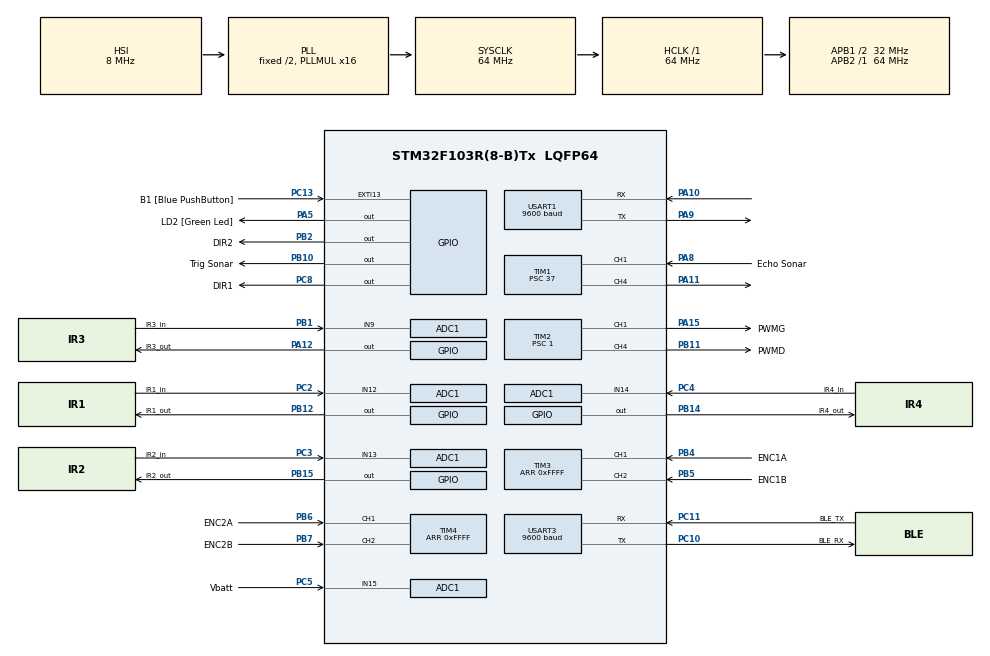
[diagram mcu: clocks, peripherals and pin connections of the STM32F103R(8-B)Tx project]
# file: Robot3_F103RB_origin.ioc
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ADC1.AWD1HighThreshold=4095
ADC1.AWD1ITMode=ENABLE
ADC1.AWD1LowThreshold=2455
ADC1.Channel-0\#ChannelRegularConversion=ADC_CHANNEL_9
ADC1.Channel-1\#ChannelRegularConversion=ADC_CHANNEL_12
ADC1.Channel-2\#ChannelRegularConversion=ADC_CHANNEL_13
ADC1.Channel-3\#ChannelRegularConversion=ADC_CHANNEL_14
ADC1.Channel-4\#ChannelRegularConversion=ADC_CHANNEL_15
ADC1.ContinuousConvMode=DISABLE
ADC1.DataAlign=ADC_DATAALIGN_RIGHT
ADC1.DiscontinuousConvMode=DISABLE
ADC1.EnableAnalogWatchDog=true
ADC1.EnableRegularConversion=ENABLE
ADC1.ExternalTrigConv=ADC_SOFTWARE_START
ADC1.InjNumberOfConversion=0
ADC1.NbrOfConversion=5
ADC1.NbrOfConversionFlag=1
ADC1.Rank-0\#ChannelRegularConversion=1
ADC1.Rank-1\#ChannelRegularConversion=2
ADC1.Rank-2\#ChannelRegularConversion=3
ADC1.Rank-3\#ChannelRegularConversion=4
ADC1.Rank-4\#ChannelRegularConversion=5
ADC1.SamplingTime-0\#ChannelRegularConversion=ADC_SAMPLETIME_239CYCLES_5
ADC1.SamplingTime-1\#ChannelRegularConversion=ADC_SAMPLETIME_239CYCLES_5
ADC1.SamplingTime-2\#ChannelRegularConversion=ADC_SAMPLETIME_239CYCLES_5
ADC1.SamplingTime-3\#ChannelRegularConversion=ADC_SAMPLETIME_239CYCLES_5
ADC1.SamplingTime-4\#ChannelRegularConversion=ADC_SAMPLETIME_239CYCLES_5
ADC1.ScanConvMode=ADC_SCAN_ENABLE
ADC1.WatchdogChannel=ADC_CHANNEL_15
ADC1.WatchdogMode=ADC_ANALOGWATCHDOG_SINGLE_REG
ADC1.master=1
Dma.ADC1.0.Direction=DMA_PERIPH_TO_MEMORY
Dma.ADC1.0.Instance=DMA1_Channel1
Dma.ADC1.0.MemDataAlignment=DMA_MDATAALIGN_HALFWORD
Dma.ADC1.0.MemInc=DMA_MINC_ENABLE
Dma.ADC1.0.Mode=DMA_CIRCULAR
Dma.ADC1.0.PeriphDataAlignment=DMA_PDATAALIGN_HALFWORD
Dma.ADC1.0.PeriphInc=DMA_PINC_DISABLE
Dma.ADC1.0.Priority=DMA_PRIORITY_LOW
Dma.Request0=ADC1
Mcu.Family=STM32F1
Mcu.Name=STM32F103R(8-B)Tx
Mcu.Package=LQFP64
NVIC.ADC1_2_IRQn=true\:0\:0\:false\:true\:true\:4\:true
NVIC.DMA1_Channel1_IRQn=true\:0\:0\:false\:false\:true\:true
NVIC.EXTI15_10_IRQn=true\:0\:0\:false\:true\:true\:1\:true
NVIC.PriorityGroup=NVIC_PRIORITYGROUP_4
NVIC.TIM1_CC_IRQn=true\:0\:0\:false\:false\:true\:true
NVIC.TIM2_IRQn=true\:0\:0\:false\:false\:true\:true
NVIC.USART1_IRQn=true\:0\:0\:false\:true\:true\:3\:true
NVIC.USART3_IRQn=true\:0\:0\:false\:true\:true\:2\:true
PA10.Mode=Asynchronous
PA10.Signal=USART1_RX
PA11.Signal=S_TIM1_CH4
PA12.GPIO_Label=IR3_out
PA12.Signal=GPIO_Output
PA13.GPIO_Label=TMS
PA13.Mode=Serial_Wire
PA13.Signal=SYS_JTMS-SWDIO
PA14.GPIO_Label=TCK
PA14.Mode=Serial_Wire
PA14.Signal=SYS_JTCK-SWCLK
PA15.GPIO_Label=PWMG
PA15.Signal=S_TIM2_CH1_ETR
PA2.GPIO_Label=USART_TX
PA2.GPIO_Mode=GPIO_MODE_AF_PP
PA2.GPIO_PuPd=GPIO_NOPULL
PA2.GPIO_Speed=GPIO_SPEED_FREQ_LOW
PA2.Signal=USART2_TX
PA3.GPIO_Label=USART_RX
PA3.GPIO_Mode=GPIO_MODE_AF_PP
PA3.GPIO_PuPd=GPIO_NOPULL
PA3.GPIO_Speed=GPIO_SPEED_FREQ_LOW
PA3.Signal=USART2_RX
PA5.GPIO_Label=LD2 [Green Led]
PA5.GPIO_ModeDefaultOutputPP=GPIO_MODE_OUTPUT_PP
PA5.GPIO_PuPd=GPIO_NOPULL
PA5.GPIO_Speed=GPIO_SPEED_FREQ_LOW
PA5.Signal=GPIO_Output
PA8.GPIO_Label=Echo Sonar
PA8.Signal=S_TIM1_CH1
PA9.Mode=Asynchronous
PA9.Signal=USART1_TX
PB1.GPIO_Label=IR3_in
PB1.Signal=ADCx_IN9
PB10.GPIO_Label=Trig Sonar
PB10.Signal=GPIO_Output
PB11.GPIO_Label=PWMD
PB11.Signal=S_TIM2_CH4
PB12.GPIO_Label=IR1_out
PB12.Signal=GPIO_Output
PB14.GPIO_Label=IR4_out
PB14.Signal=GPIO_Output
PB15.GPIO_Label=IR2_out
PB15.Signal=GPIO_Output
PB2.GPIO_Label=DIR2
PB2.Signal=GPIO_Output
PB3.GPIO_Label=SWO
PB3.Signal=SYS_JTDO-TRACESWO
PB4.GPIO_Label=ENC1A
PB4.Signal=S_TIM3_CH1
PB5.GPIO_Label=ENC1B
PB5.Signal=S_TIM3_CH2
PB6.GPIO_Label=ENC2A
PB6.Signal=S_TIM4_CH1
PB7.GPIO_Label=ENC2B
PB7.Signal=S_TIM4_CH2
PC10.GPIO_Label=BLE_RX
PC10.Mode=Asynchronous
PC10.Signal=USART3_TX
PC11.GPIO_Label=BLE_TX
PC11.Mode=Asynchronous
PC11.Signal=USART3_RX
PC13-TAMPER-RTC.GPIO_Label=B1 [Blue PushButton]
PC13-TAMPER-RTC.GPIO_ModeDefaultEXTI=GPIO_MODE_IT_FALLING
PC13-TAMPER-RTC.GPIO_PuPd=GPIO_NOPULL
PC13-TAMPER-RTC.Signal=GPXTI13
PC14-OSC32_IN.Signal=RCC_OSC32_IN
PC15-OSC32_OUT.Signal=RCC_OSC32_OUT
PC2.GPIO_Label=IR1_in
PC2.Signal=ADCx_IN12
PC3.GPIO_Label=IR2_in
PC3.Signal=ADCx_IN13
PC4.GPIO_Label=IR4_in
PC4.Signal=ADCx_IN14
PC5.GPIO_Label=Vbatt
PC5.Signal=ADCx_IN15
PC8.GPIO_Label=DIR1
PC8.Signal=GPIO_Output
PD0-OSC_IN.Signal=RCC_OSC_IN
PD1-OSC_OUT.Signal=RCC_OSC_OUT
ProjectManager.HeapSize=0x200
ProjectManager.StackSize=0x400
ProjectManager.TargetToolchain=TrueSTUDIO
RCC.ADCPresc=RCC_ADCPCLK2_DIV8
RCC.AHBFreq_Value=64000000
RCC.APB1CLKDivider=RCC_HCLK_DIV2
RCC.APB1Freq_Value=32000000
RCC.APB1TimFreq_Value=64000000
RCC.APB2Freq_Value=64000000
RCC.APB2TimFreq_Value=64000000
RCC.HCLKFreq_Value=64000000
RCC.PLLMUL=RCC_PLL_MUL16
RCC.SYSCLKFreq_VALUE=64000000
RCC.SYSCLKSource=RCC_SYSCLKSOURCE_PLLCLK
RCC.USBFreq_Value=64000000
SH.ADCx_IN12.0=ADC1_IN12,IN12
SH.ADCx_IN13.0=ADC1_IN13,IN13
SH.ADCx_IN14.0=ADC1_IN14,IN14
SH.ADCx_IN15.0=ADC1_IN15,IN15
SH.ADCx_IN9.0=ADC1_IN9,IN9
SH.S_TIM1_CH1.0=TIM1_CH1,PWM_Input_1
SH.S_TIM1_CH4.0=TIM1_CH4,PWM Generation4 CH4
SH.S_TIM2_CH1_ETR.0=TIM2_CH1,PWM Generation1 CH1
SH.S_TIM2_CH4.0=TIM2_CH4,PWM Generation4 CH4
SH.S_TIM3_CH1.0=TIM3_CH1,Encoder_Interface
SH.S_TIM3_CH2.0=TIM3_CH2,Encoder_Interface
SH.S_TIM4_CH1.0=TIM4_CH1,Encoder_Interface
SH.S_TIM4_CH2.0=TIM4_CH2,Encoder_Interface
TIM1.AutoReloadPreload=TIM_AUTORELOAD_PRELOAD_ENABLE
TIM1.Channel-PWM\ Generation4\ CH4=TIM_CHANNEL_4
TIM1.ICFilter_1=5
TIM1.ICFilter_2=5
TIM1.Period=0xFFFF
TIM1.Prescaler=37
TIM2.AutoReloadPreload=TIM_AUTORELOAD_PRELOAD_DISABLE
TIM2.Channel-PWM\ Generation1\ CH1=TIM_CHANNEL_1
TIM2.Channel-PWM\ Generation4\ CH4=TIM_CHANNEL_4
TIM2.Period=64000
TIM2.Prescaler=1
TIM3.AutoReloadPreload=TIM_AUTORELOAD_PRELOAD_ENABLE
TIM3.EncoderMode=TIM_ENCODERMODE_TI12
TIM3.IC1Filter=8
TIM3.IC1Polarity=TIM_ICPOLARITY_RISING
TIM3.IC2Filter=8
TIM3.IC2Polarity=TIM_ICPOLARITY_RISING
TIM3.Period=0xFFFF
TIM4.AutoReloadPreload=TIM_AUTORELOAD_PRELOAD_ENABLE
TIM4.EncoderMode=TIM_ENCODERMODE_TI12
TIM4.IC1Filter=8
TIM4.IC1Polarity=TIM_ICPOLARITY_RISING
TIM4.IC2Filter=8
TIM4.IC2Polarity=TIM_ICPOLARITY_RISING
TIM4.Period=0xFFFF
USART1.BaudRate=9600
USART1.VirtualMode=VM_ASYNC
USART3.BaudRate=9600
USART3.VirtualMode=VM_ASYNC
VP_TIM1_VS_ClockSourceINT.Mode=Internal
VP_TIM2_VS_ClockSourceINT.Mode=Internal
board=NUCLEO-F103RB

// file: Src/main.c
/**
 ******************************************************************************
 * @file           : main.c
 * @brief          : Main program body
 ******************************************************************************
 ** This notice applies to any and all portions of this file
 * that are not between comment pairs USER CODE BEGIN and
 * USER CODE END. Other portions of this file, whether
 * inserted by the user or by software development tools
 * are owned by their respective copyright owners.
 *
 * COPYRIGHT(c) 2020 STMicroelectronics
 *
 * Redistribution and use in source and binary forms, with or without modification,
 * are permitted provided that the following conditions are met:
 *   1. Redistributions of source code must retain the above copyright notice,
 *      this list of conditions and the following disclaimer.
 *   2. Redistributions in binary form must reproduce the above copyright notice,
 *      this list of conditions and the following disclaimer in the documentation
 *      and/or other materials provided with the distribution.
 *   3. Neither the name of STMicroelectronics nor the names of its contributors
 *      may be used to endorse or promote products derived from this software
 *      without specific prior written permission.
 *
 * THIS SOFTWARE IS PROVIDED BY THE COPYRIGHT HOLDERS AND CONTRIBUTORS "AS IS"
 * AND ANY EXPRESS OR IMPLIED WARRANTIES, INCLUDING, BUT NOT LIMITED TO, THE
 * IMPLIED WARRANTIES OF MERCHANTABILITY AND FITNESS FOR A PARTICULAR PURPOSE ARE
 * DISCLAIMED. IN NO EVENT SHALL THE COPYRIGHT HOLDER OR CONTRIBUTORS BE LIABLE
 * FOR ANY DIRECT, INDIRECT, INCIDENTAL, SPECIAL, EXEMPLARY, OR CONSEQUENTIAL
 * DAMAGES (INCLUDING, BUT NOT LIMITED TO, PROCUREMENT OF SUBSTITUTE GOODS OR
 * SERVICES; LOSS OF USE, DATA, OR PROFITS; OR BUSINESS INTERRUPTION) HOWEVER
 * CAUSED AND ON ANY THEORY OF LIABILITY, WHETHER IN CONTRACT, STRICT LIABILITY,
 * OR TORT (INCLUDING NEGLIGENCE OR OTHERWISE) ARISING IN ANY WAY OUT OF THE USE
 * OF THIS SOFTWARE, EVEN IF ADVISED OF THE POSSIBILITY OF SUCH DAMAGE.
 *
 ******************************************************************************
 */
#include "main.h"
#include "stm32f1xx_hal.h"
#include "adc.h"
#include "dma.h"
#include "tim.h"
#include "usart.h"
#include "gpio.h"

/* USER CODE BEGIN Includes */
#include <stdlib.h>
#include <stdio.h>
#include <string.h>
/* USER CODE END Includes */

/* USER CODE BEGIN PV */
/* Private variables ---------------------------------------------------------*/
#define AVANCE 	GPIO_PIN_SET
#define RECULE  GPIO_PIN_RESET
#define POURCENT 640
#define Seuil_Dist_4 1600 // 1600 corespond à 10 cm.
#define Seuil_Dist_3 1600
#define Seuil_Dist_1 1600
#define Seuil_Dist_2 1600
#define V1 38
#define V2 56
#define V3 76
#define Vmax 95
#define T_2_S 1000 //( pwm période = 2 ms )
#define T_200_MS 100
#define T_2000_MS 1000
#define CKp_D 100  //80 Robot1
#define CKp_G 100  //80 Robot1
#define CKi_D 80  //50 Robot1
#define CKi_G 80  //50 Robot1
#define CKd_D 0
#define CKd_G 0
#define DELTA 0x50
#define DECALAGE 10000
#define TOLERANCE 300
const char address_o = 77;

struct Position {
	long x, y, z;
};
volatile struct Position position_ref_o = { .x = -1, .y = -1, .z = -1 };
volatile struct Position position_ref_i = { .x = -1, .y = -1, .z = -1 };
enum CMDE {
	START, STOP, AVANT, ARRIERE, DROITE, GAUCHE, PARK, MOV_PARK, ATTENTE_PARK
};
volatile enum CMDE CMDE;
enum MODE {
	SLEEP, ACTIF_MODE
};
volatile enum MODE Mode;
enum MOV_PARK_ETAT {
	AVANCER_50cm, TOURNER_CCW, MOV_Z, TOURNER_CW, ALIGNER
};
enum GST_CMDE_ETAT {
	VEILLE,
	ARRET,
	AV1,
	AV2,
	AV3,
	RV1,
	RV2,
	RV3,
	DV1,
	DV2,
	DV3,
	GV1,
	GV2,
	GV3,
	PARK_STATE,
	MOV_PARK_STATE,
	ATTENTE_PARK_STATE
};
volatile enum GST_CMDE_ETAT gstCmdeEtat = VEILLE;
enum DIRECTION {
	POS_X, POS_Y, POS_Z
};
volatile enum DIRECTION direction;
volatile unsigned char New_CMDE = 0;
volatile char address_i;
volatile uint16_t Dist_ACS_1, Dist_ACS_2, Dist_ACS_3, Dist_ACS_4;
volatile unsigned int Time = 0;
volatile unsigned int Tech = 0;
uint16_t adc_buffer[10];
uint16_t Buff_Dist[8];
uint8_t BLUE_RX;
uint8_t XBEE_RX;
char XBEE_TX[20] = { 0 };
char MESSAGE_XBEE[20] = { 0 };

uint16_t _DirG, _DirD, CVitG, CVitD, DirD, DirG;
uint16_t _CVitD = 0;
uint16_t _CVitG = 0;
uint16_t VitD, VitG, DistD, DistG;
uint16_t DistD_old = 0;
uint16_t DistG_old = 0;
int Cmde_VitD = 0;
int Cmde_VitG = 0;
unsigned long Dist_parcours = 0;
volatile uint32_t Dist_Obst;
uint32_t Dist_Obst_;
uint32_t Dist_Obst_cm;
uint32_t Dist;
long Dist_mur;
uint8_t UNE_FOIS = 1;
uint32_t OV = 0;
/* USER CODE END PV */

void SystemClock_Config(void);
static void MX_NVIC_Init(void);

/* USER CODE BEGIN PFP */
/* Private function prototypes -----------------------------------------------*/
void Gestion_Commandes(void);
void regulateur(void);
void controle(void);
void Calcul_Vit(void);
void ACS(void);
void Direction_Sonar(enum DIRECTION direction);
void movPark(void);
void Park(void);
void printToXBEE(char out[]);
/* USER CODE END PFP */

int main(void) {

	/* MCU Configuration----------------------------------------------------------*/

	/* Reset of all peripherals, Initializes the Flash interface and the Systick. */
	HAL_Init();

	/* USER CODE BEGIN Init */
	Dist_Obst = 0;
	/* USER CODE END Init */

	/* Configure the system clock */
	SystemClock_Config();

	/* Initialize all configured peripherals */
	MX_GPIO_Init();
	MX_DMA_Init();
	MX_ADC1_Init();
	MX_TIM2_Init();
	MX_TIM3_Init();
	MX_TIM4_Init();
	MX_USART3_UART_Init();
	MX_TIM1_Init();
	MX_USART1_UART_Init();

	/* Initialize interrupts */
	MX_NVIC_Init();
	/* USER CODE BEGIN 2 */
	HAL_SuspendTick(); // suppresion des Tick interrupt pour le mode sleep.

	HAL_TIM_PWM_Start(&htim2, TIM_CHANNEL_4);  // Start PWM motor
	HAL_TIM_PWM_Start(&htim2, TIM_CHANNEL_1);
	HAL_TIM_PWM_Start(&htim1, TIM_CHANNEL_4);	//Start Servo
	CMDE = STOP;
	New_CMDE = 1;
	HAL_TIM_Base_Start_IT(&htim2);  // Start IT sur font montant PWM
	HAL_TIM_Encoder_Start(&htim3, TIM_CHANNEL_ALL);
	HAL_TIM_Encoder_Start(&htim4, TIM_CHANNEL_ALL);
	HAL_UART_Receive_IT(&huart3, &BLUE_RX, 1);
	HAL_UART_Receive_IT(&huart1, &XBEE_RX, 1);
	HAL_ADC_Start_IT(&hadc1);
	HAL_TIM_IC_Start_IT(&htim1, TIM_CHANNEL_2);
	HAL_GPIO_WritePin(GPIOB, GPIO_PIN_10, GPIO_PIN_SET);
	Direction_Sonar(POS_X);
	/* USER CODE END 2 */

	/* Infinite loop */
	/* USER CODE BEGIN WHILE */
	while (1) {
		Gestion_Commandes();
		controle();
		/* USER CODE END WHILE */

	}

}

void SystemClock_Config(void) {

	RCC_OscInitTypeDef RCC_OscInitStruct;
	RCC_ClkInitTypeDef RCC_ClkInitStruct;
	RCC_PeriphCLKInitTypeDef PeriphClkInit;

	/**Initializes the CPU, AHB and APB busses clocks
	 */
	RCC_OscInitStruct.OscillatorType = RCC_OSCILLATORTYPE_HSI;
	RCC_OscInitStruct.HSIState = RCC_HSI_ON;
	RCC_OscInitStruct.HSICalibrationValue = 16;
	RCC_OscInitStruct.PLL.PLLState = RCC_PLL_ON;
	RCC_OscInitStruct.PLL.PLLSource = RCC_PLLSOURCE_HSI_DIV2;
	RCC_OscInitStruct.PLL.PLLMUL = RCC_PLL_MUL16;
	if (HAL_RCC_OscConfig(&RCC_OscInitStruct) != HAL_OK) {
		_Error_Handler(__FILE__, __LINE__);
	}

	/**Initializes the CPU, AHB and APB busses clocks
	 */
	RCC_ClkInitStruct.ClockType = RCC_CLOCKTYPE_HCLK | RCC_CLOCKTYPE_SYSCLK
			| RCC_CLOCKTYPE_PCLK1 | RCC_CLOCKTYPE_PCLK2;
	RCC_ClkInitStruct.SYSCLKSource = RCC_SYSCLKSOURCE_PLLCLK;
	RCC_ClkInitStruct.AHBCLKDivider = RCC_SYSCLK_DIV1;
	RCC_ClkInitStruct.APB1CLKDivider = RCC_HCLK_DIV2;
	RCC_ClkInitStruct.APB2CLKDivider = RCC_HCLK_DIV1;

	if (HAL_RCC_ClockConfig(&RCC_ClkInitStruct, FLASH_LATENCY_2) != HAL_OK) {
		_Error_Handler(__FILE__, __LINE__);
	}

	PeriphClkInit.PeriphClockSelection = RCC_PERIPHCLK_ADC;
	PeriphClkInit.AdcClockSelection = RCC_ADCPCLK2_DIV8;
	if (HAL_RCCEx_PeriphCLKConfig(&PeriphClkInit) != HAL_OK) {
		_Error_Handler(__FILE__, __LINE__);
	}

	/**Configure the Systick interrupt time
	 */
	HAL_SYSTICK_Config(HAL_RCC_GetHCLKFreq() / 1000);

	/**Configure the Systick
	 */
	HAL_SYSTICK_CLKSourceConfig(SYSTICK_CLKSOURCE_HCLK);

	/* SysTick_IRQn interrupt configuration */
	HAL_NVIC_SetPriority(SysTick_IRQn, 0, 0);
}

/**
 * @brief NVIC Configuration.
 * @retval None
 */
static void MX_NVIC_Init(void) {
	/* EXTI15_10_IRQn interrupt configuration */
	HAL_NVIC_SetPriority(EXTI15_10_IRQn, 0, 0);
	HAL_NVIC_EnableIRQ(EXTI15_10_IRQn);
	/* USART3_IRQn interrupt configuration */
	HAL_NVIC_SetPriority(USART3_IRQn, 0, 0);
	HAL_NVIC_EnableIRQ(USART3_IRQn);
	/* USART1_IRQn interrupt configuration */
	HAL_NVIC_SetPriority(USART1_IRQn, 0, 0);
	HAL_NVIC_EnableIRQ(USART1_IRQn);
	/* ADC1_2_IRQn interrupt configuration */
	HAL_NVIC_SetPriority(ADC1_2_IRQn, 0, 0);
	HAL_NVIC_EnableIRQ(ADC1_2_IRQn);
}

/* USER CODE BEGIN 4 */
void Direction_Sonar(enum DIRECTION direction) {
	// D0
//	switch (direction) {
//	case POS_X:
//		__HAL_TIM_SET_COMPARE(&htim1, TIM_CHANNEL_4, 2200);
//		break;
//	case POS_Y:
//		__HAL_TIM_SET_COMPARE(&htim1, TIM_CHANNEL_4, 795);
//		break;
//	case POS_Z:
//		__HAL_TIM_SET_COMPARE(&htim1, TIM_CHANNEL_4, 4100);
//		break;
//	}
	switch (direction) {
	case POS_X:
		__HAL_TIM_SET_COMPARE(&htim1, TIM_CHANNEL_4, 2350);
		break;
	case POS_Y:
		__HAL_TIM_SET_COMPARE(&htim1, TIM_CHANNEL_4, 795);
		break;
	case POS_Z:
		__HAL_TIM_SET_COMPARE(&htim1, TIM_CHANNEL_4, 4100);
		break;
	}
}

void Gestion_Commandes(void) {
	if (New_CMDE) {
		New_CMDE = 0;
		switch (CMDE) {
		case STOP: {
			_CVitD = _CVitG = 0;
			// Mise en sommeil: STOP mode , réveil via IT BP1
			gstCmdeEtat = VEILLE;
			Mode = SLEEP;

			break;
		}
		case START: {
			// réveil sytème grace à l'IT BP1
			gstCmdeEtat = ARRET;
			Mode = SLEEP;

			break;
		}
		case AVANT: {
			switch (gstCmdeEtat) {
			case VEILLE: {
				gstCmdeEtat = VEILLE;
				Mode = SLEEP;
				break;
			}
			case ARRET: {
				_DirG = AVANCE;
				_DirD = AVANCE;
				_CVitG = V1;
				_CVitD = V1;
				gstCmdeEtat = AV1;
				Mode = ACTIF_MODE;
				break;
			}
			case AV1: {
				_DirG = AVANCE;
				_DirD = AVANCE;
				_CVitG = V2;
				_CVitD = V2;
				gstCmdeEtat = AV2;
				Mode = ACTIF_MODE;
				break;
			}
			case AV2: {
				_DirG = AVANCE;
				_DirD = AVANCE;
				_CVitG = V3;
				_CVitD = V3;
				gstCmdeEtat = AV3;
				Mode = ACTIF_MODE;
				break;
			}
			case AV3: {
				_DirG = AVANCE;
				_DirD = AVANCE;
				_CVitG = V3;
				_CVitD = V3;
				gstCmdeEtat = AV3;
				Mode = ACTIF_MODE;
				break;
			}
			case RV1: {
				_DirG = RECULE;
				_DirD = RECULE;
				_CVitG = 0;
				_CVitD = 0;
				gstCmdeEtat = ARRET;
				Mode = SLEEP;

				break;
			}
			case RV2: {
				_DirG = RECULE;
				_DirD = RECULE;
				_CVitG = V1;
				_CVitD = V1;
				gstCmdeEtat = RV1;
				Mode = ACTIF_MODE;
				break;
			}
			case RV3: {
				_DirG = RECULE;
				_DirD = RECULE;
				_CVitG = V2;
				_CVitD = V2;
				gstCmdeEtat = RV2;
				Mode = ACTIF_MODE;
				break;
			}
			case DV1: {
				_DirG = AVANCE;
				_DirD = AVANCE;
				_CVitG = V1;
				_CVitD = V1;
				gstCmdeEtat = AV1;
				Mode = ACTIF_MODE;
				break;
			}
			case DV2: {
				_DirG = AVANCE;
				_DirD = AVANCE;
				_CVitG = V2;
				_CVitD = V2;
				gstCmdeEtat = AV2;
				Mode = ACTIF_MODE;
				break;
			}
			case DV3: {
				_DirG = AVANCE;
				_DirD = AVANCE;
				_CVitG = V3;
				_CVitD = V3;
				gstCmdeEtat = AV3;
				Mode = ACTIF_MODE;
				break;
			}
			case GV1: {
				_DirG = AVANCE;
				_DirD = AVANCE;
				_CVitG = V1;
				_CVitD = V1;
				gstCmdeEtat = AV2;
				Mode = ACTIF_MODE;
				break;
			}
			case GV2: {
				_DirG = AVANCE;
				_DirD = AVANCE;
				_CVitG = V2;
				_CVitD = V2;
				gstCmdeEtat = AV2;
				Mode = ACTIF_MODE;
				break;
			}
			case GV3: {
				_DirG = AVANCE;
				_DirD = AVANCE;
				_CVitG = V3;
				_CVitD = V3;
				gstCmdeEtat = AV3;
				Mode = ACTIF_MODE;
				break;
			}
			default:
				break;
			}
			break;
		}
		case ARRIERE: {
			switch (gstCmdeEtat) {
			case VEILLE: {
				gstCmdeEtat = VEILLE;
				Mode = SLEEP;
				break;
			}
			case ARRET: {
				_DirG = RECULE;
				_DirD = RECULE;
				_CVitG = V1;
				_CVitD = V1;
				gstCmdeEtat = RV1;
				Mode = ACTIF_MODE;
				break;
			}
			case AV1: {
				_DirG = AVANCE;
				_DirD = AVANCE;
				_CVitG = 0;
				_CVitD = 0;
				gstCmdeEtat = ARRET;
				Mode = SLEEP;

				break;
			}
			case AV2: {
				_DirG = AVANCE;
				_DirD = AVANCE;
				_CVitG = V1;
				_CVitD = V1;
				gstCmdeEtat = AV1;
				Mode = ACTIF_MODE;
				break;
			}
			case AV3: {
				_DirG = AVANCE;
				_DirD = AVANCE;
				_CVitG = V2;
				_CVitD = V2;
				gstCmdeEtat = AV2;
				Mode = ACTIF_MODE;
				break;
			}
			case RV1: {
				_DirG = RECULE;
				_DirD = RECULE;
				_CVitG = V2;
				_CVitD = V2;
				gstCmdeEtat = RV2;
				Mode = ACTIF_MODE;
				break;
			}
			case RV2: {
				_DirG = RECULE;
				_DirD = RECULE;
				_CVitG = V3;
				_CVitD = V3;
				gstCmdeEtat = RV3;
				Mode = ACTIF_MODE;
				break;
			}
			case RV3: {
				_DirG = RECULE;
				_DirD = RECULE;
				_CVitG = V3;
				_CVitD = V3;
				gstCmdeEtat = RV3;
				Mode = ACTIF_MODE;
				break;
			}
			case DV1: {
				_DirG = RECULE;
				_DirD = RECULE;
				_CVitG = V1;
				_CVitD = V1;
				gstCmdeEtat = RV1;
				Mode = ACTIF_MODE;
				break;
			}
			case DV2: {
				_DirG = RECULE;
				_DirD = RECULE;
				_CVitG = V2;
				_CVitD = V2;
				gstCmdeEtat = RV2;
				Mode = ACTIF_MODE;
				break;
			}
			case DV3: {
				_DirG = RECULE;
				_DirD = RECULE;
				_CVitG = V3;
				_CVitD = V3;
				gstCmdeEtat = RV3;
				Mode = ACTIF_MODE;
				break;
			}
			case GV1: {
				_DirG = RECULE;
				_DirD = RECULE;
				_CVitG = V1;
				_CVitD = V1;
				gstCmdeEtat = RV1;
				Mode = ACTIF_MODE;
				break;
			}
			case GV2: {
				_DirG = RECULE;
				_DirD = RECULE;
				_CVitG = V2;
				_CVitD = V2;
				gstCmdeEtat = RV2;
				Mode = ACTIF_MODE;
				break;
			}
			case GV3: {
				_DirG = RECULE;
				_DirD = RECULE;
				_CVitG = V3;
				_CVitD = V3;
				gstCmdeEtat = RV3;
				Mode = ACTIF_MODE;
				break;
			}
			default:
				break;
			}
			break;
		}
		case DROITE: {
			switch (gstCmdeEtat) {
			case VEILLE: {
				gstCmdeEtat = VEILLE;
				Mode = SLEEP;
				break;
			}
			case ARRET: {
				_DirG = AVANCE;
				_DirD = RECULE;
				_CVitG = V1;
				_CVitD = V1;
				gstCmdeEtat = DV1;
				Mode = ACTIF_MODE;
				break;
			}
			case AV1: {
				_DirG = AVANCE;
				_DirD = RECULE;
				_CVitG = V1;
				_CVitD = V1;
				gstCmdeEtat = DV1;
				Mode = ACTIF_MODE;
				break;
			}
			case AV2: {
				_DirG = AVANCE;
				_DirD = RECULE;
				_CVitG = V2;
				_CVitD = V2;
				gstCmdeEtat = DV2;
				Mode = ACTIF_MODE;
				break;
			}
			case AV3: {
				_DirG = AVANCE;
				_DirD = RECULE;
				_CVitG = V3;
				_CVitD = V3;
				gstCmdeEtat = DV3;
				Mode = ACTIF_MODE;
				break;
			}
			case RV1: {
				_DirG = AVANCE;
				_DirD = RECULE;
				_CVitG = V1;
				_CVitD = V1;
				gstCmdeEtat = DV1;
				Mode = ACTIF_MODE;
				break;
			}
			case RV2: {
				_DirG = AVANCE;
				_DirD = RECULE;
				_CVitG = V2;
				_CVitD = V2;
				gstCmdeEtat = DV2;
				Mode = ACTIF_MODE;
				break;
			}
			case RV3: {
				_DirG = AVANCE;
				_DirD = RECULE;
				_CVitG = V3;
				_CVitD = V3;
				gstCmdeEtat = DV3;
				Mode = ACTIF_MODE;
				break;
			}
			case DV1: {
				_DirG = AVANCE;
				_DirD = RECULE;
				_CVitG = V2;
				_CVitD = V2;
				gstCmdeEtat = DV2;
				Mode = ACTIF_MODE;
				break;
			}
			case DV2: {
				_DirG = AVANCE;
				_DirD = RECULE;
				_CVitG = V3;
				_CVitD = V3;
				gstCmdeEtat = DV3;
				Mode = ACTIF_MODE;
				break;
			}
			case DV3: {
				_DirG = AVANCE;
				_DirD = RECULE;
				_CVitG = V3;
				_CVitD = V3;
				gstCmdeEtat = DV3;
				Mode = ACTIF_MODE;
				break;
			}
			case GV1: {
				_DirG = RECULE;
				_DirD = RECULE;
				_CVitG = 0;
				_CVitD = 0;
				gstCmdeEtat = ARRET;
				Mode = SLEEP;

				break;
			}
			case GV2: {
				_DirG = RECULE;
				_DirD = AVANCE;
				_CVitG = V1;
				_CVitD = V1;
				gstCmdeEtat = GV1;
				Mode = ACTIF_MODE;
				break;
			}
			case GV3: {
				_DirG = RECULE;
				_DirD = AVANCE;
				_CVitG = V2;
				_CVitD = V2;
				gstCmdeEtat = GV2;
				Mode = ACTIF_MODE;
				break;
			}
			default:
				break;
			}
			break;
		}
		case GAUCHE: {
			switch (gstCmdeEtat) {
			case VEILLE: {
				gstCmdeEtat = VEILLE;
				Mode = SLEEP;
				break;
			}
			case ARRET: {
				_DirG = RECULE;
				_DirD = AVANCE;
				_CVitG = V1;
				_CVitD = V1;
				gstCmdeEtat = GV1;
				Mode = ACTIF_MODE;
				break;
			}
			case AV1: {
				_DirG = RECULE;
				_DirD = AVANCE;
				_CVitG = V1;
				_CVitD = V1;
				gstCmdeEtat = GV1;
				Mode = ACTIF_MODE;
				break;
			}
			case AV2: {
				_DirG = RECULE;
				_DirD = AVANCE;
				_CVitG = V2;
				_CVitD = V2;
				gstCmdeEtat = GV2;
				Mode = ACTIF_MODE;
				break;
			}
			case AV3: {
				_DirG = RECULE;
				_DirD = AVANCE;
				_CVitG = V3;
				_CVitD = V3;
				gstCmdeEtat = GV3;
				Mode = ACTIF_MODE;
				break;
			}
			case RV1: {
				_DirG = RECULE;
				_DirD = AVANCE;
				_CVitG = V1;
				_CVitD = V1;
				gstCmdeEtat = GV1;
				Mode = ACTIF_MODE;
				break;
			}
			case RV2: {
				_DirG = RECULE;
				_DirD = AVANCE;
				_CVitG = V2;
				_CVitD = V2;
				gstCmdeEtat = GV2;
				Mode = ACTIF_MODE;
				break;
			}
			case RV3: {
				_DirG = RECULE;
				_DirD = AVANCE;
				_CVitG = V3;
				_CVitD = V3;
				gstCmdeEtat = GV3;
				Mode = ACTIF_MODE;
				break;
			}
			case DV1: {
				_DirG = RECULE;
				_DirD = RECULE;
				_CVitG = 0;
				_CVitD = 0;
				gstCmdeEtat = ARRET;
				Mode = SLEEP;

				break;
			}
			case DV2: {
				_DirG = AVANCE;
				_DirD = RECULE;
				_CVitG = V1;
				_CVitD = V1;
				gstCmdeEtat = DV1;
				Mode = ACTIF_MODE;
				break;
			}
			case DV3: {
				_DirG = AVANCE;
				_DirD = RECULE;
				_CVitG = V2;
				_CVitD = V2;
				gstCmdeEtat = DV2;
				Mode = ACTIF_MODE;
				break;
			}
			case GV1: {
				_DirG = RECULE;
				_DirD = AVANCE;
				_CVitG = V2;
				_CVitD = V2;
				gstCmdeEtat = GV2;
				Mode = ACTIF_MODE;
				break;
			}
			case GV2: {
				_DirG = RECULE;
				_DirD = AVANCE;
				_CVitG = V3;
				_CVitD = V3;
				gstCmdeEtat = GV3;
				Mode = ACTIF_MODE;
				break;
			}
			case GV3: {
				_DirG = RECULE;
				_DirD = AVANCE;
				_CVitG = V3;
				_CVitD = V3;
				gstCmdeEtat = GV3;
				Mode = ACTIF_MODE;
				break;
			}
			default:
				break;
			}
			break;

		}
		case PARK: {
			if (gstCmdeEtat != VEILLE) {
				gstCmdeEtat = PARK_STATE;
				Mode = SLEEP;
			}
			break;
		}
		case MOV_PARK: {
			if (gstCmdeEtat != VEILLE) {
				gstCmdeEtat = MOV_PARK_STATE;
			}
			break;
		}
		case ATTENTE_PARK: {
			if (gstCmdeEtat != VEILLE) {
				gstCmdeEtat =
						(gstCmdeEtat != ATTENTE_PARK_STATE) ?
								ATTENTE_PARK_STATE : ARRET;
				Mode = SLEEP;
			}
			break;
		}
		}
	}

	if (gstCmdeEtat == PARK_STATE) {
		Park();
	} else if (gstCmdeEtat == MOV_PARK_STATE) {
		HAL_GPIO_WritePin(GPIOB, GPIO_PIN_10, GPIO_PIN_SET);
		movPark();
	}

}

void movPark(void) {
	static enum MOV_PARK_ETAT movParkEtat = AVANCER_50cm;
	static unsigned int cpt = 0;
	switch (movParkEtat) {
	case AVANCER_50cm: {
		if (cpt++ >= 1250000) {
			movParkEtat = TOURNER_CCW;
			cpt = 0;
			sprintf(XBEE_TX, "%s\n", "TOURNER_CCW");
			printToXBEE(XBEE_TX);
		} else {
			_CVitD = V1;
			_CVitG = V1;
			_DirD = AVANCE;
			_DirG = AVANCE;
			Mode = ACTIF_MODE;
		}
		break;
	}
	case TOURNER_CCW: {
		if (cpt++ >= 800000) {
			movParkEtat = MOV_Z;
			_CVitD = 0;
			_CVitG = 0;
			_DirD = AVANCE;
			_DirG = AVANCE;
			Mode = SLEEP;
			cpt = 0;
			sprintf(XBEE_TX, "%s\n", "MOV_Z");
			printToXBEE(XBEE_TX);
		} else {
			_CVitD = V1;
			_CVitG = V1;
			_DirD = AVANCE;
			_DirG = RECULE;
			Mode = ACTIF_MODE;

		}
		break;
	}
	case MOV_Z: {
		if (cpt++ >= 200000) {
			if ((Dist_mur - position_ref_i.z - DECALAGE) < -TOLERANCE) {
				_CVitD = V1;
				_CVitG = V1;
				_DirD = RECULE;
				_DirG = RECULE;
				Mode = ACTIF_MODE;
			} else if ((Dist_mur - position_ref_i.z - DECALAGE) > TOLERANCE) {
				_CVitD = V1;
				_CVitG = V1;
				_DirD = AVANCE;
				_DirG = AVANCE;
				Mode = ACTIF_MODE;
			} else {
				movParkEtat = TOURNER_CW;
				cpt = 0;
				sprintf(XBEE_TX, "%s\n", "TOURNER_CW");
				printToXBEE(XBEE_TX);
			}
		}

		break;
	}
	case TOURNER_CW: {
		if (cpt++ >= 720000) {
			movParkEtat = ALIGNER;
			_CVitD = 0;
			_CVitG = 0;
			_DirD = AVANCE;
			_DirG = AVANCE;
			Mode = SLEEP;
			cpt = 0;
			sprintf(XBEE_TX, "%s\n", "ALIGNER");
			printToXBEE(XBEE_TX);
		} else {
			_CVitD = V1;
			_CVitG = V1;
			_DirD = RECULE;
			_DirG = AVANCE;
			Mode = ACTIF_MODE;
		}
		break;
	}
	case ALIGNER: {
		if (Dist_mur > position_ref_i.x) {
			_CVitD = V1;
			_CVitG = V1;
			_DirD = AVANCE;
			_DirG = AVANCE;
			Mode = ACTIF_MODE;
		} else {
			sprintf(XBEE_TX, "%s\n", "EXIT!!!!!");
			printToXBEE(XBEE_TX);
			_CVitD = 0;
			_CVitG = 0;
			Mode = SLEEP;
			movParkEtat = AVANCER_50cm;
			gstCmdeEtat = PARK_STATE;
			cpt = 0;
		}
		break;
	}
	}
}

void Park(void) {
	static int cpt = 0;
	static int offset = 0;
	if (cpt == 0) {
		address_i = 0;
		offset = 0;
		memset(XBEE_TX, 0, strlen(XBEE_TX));  // Clear buffer
		strncpy(XBEE_TX, ":@", 20);
		printToXBEE(XBEE_TX);  // First time : Ask for addresses.
	}
	cpt++;
	if (address_i) {
		if (offset == 0) {
			offset = cpt;
			cpt = 1;
		}
		if (cpt < 200000) {
			Direction_Sonar(POS_X);
			HAL_GPIO_WritePin(GPIOB, GPIO_PIN_10, GPIO_PIN_SET);
			position_ref_o.x = Dist_mur;
		} else if (cpt >= 200000 && cpt < 400000) {
			Direction_Sonar(POS_Y);
			HAL_GPIO_WritePin(GPIOB, GPIO_PIN_10, GPIO_PIN_SET);
			position_ref_o.y = Dist_mur;
		} else if (cpt >= 400000 && cpt < 600000) {
			Direction_Sonar(POS_Z);
			HAL_GPIO_WritePin(GPIOB, GPIO_PIN_10, GPIO_PIN_SET);
			position_ref_o.z = Dist_mur;
		} else {
			memset(XBEE_TX, 0, strlen(XBEE_TX));  // Clear buffer
			sprintf(XBEE_TX, "Px%05li", position_ref_o.x);
			printToXBEE(XBEE_TX);
			sprintf(XBEE_TX, "Py%05li", position_ref_o.y);
			printToXBEE(XBEE_TX);
			sprintf(XBEE_TX, "Pz%05li", position_ref_o.z);
			printToXBEE(XBEE_TX);

			memset(XBEE_TX, 0, strlen(XBEE_TX));  // Clear buffer
			snprintf(XBEE_TX, 3, "#%c", address_i);
			printToXBEE(XBEE_TX);

			memset(XBEE_TX, 0, strlen(XBEE_TX));  // Clear buffer
			strncpy(XBEE_TX, ":M", 2);
			printToXBEE(XBEE_TX);
			cpt = 0;
			gstCmdeEtat = ARRET;
		}
	} else if (cpt > 2000000) {
		gstCmdeEtat = ARRET;
		cpt = 0;
		offset = 0;
	}
}

void controle(void) {

	if (Tech >= T_200_MS) {
		Tech = 0;
		ACS();
		Calcul_Vit();
		regulateur();
	}

}

void ACS(void) {
	enum ETAT {
		ARRET, ACTIF
	};
	static enum ETAT Etat = ARRET;
	static uint16_t Delta1 = 0;
	static uint16_t Delta2 = 0;
	static uint16_t Delta3 = 0;
	static uint16_t Delta4 = 0;

	switch (Etat) {
	case ARRET: {
		if (Mode == ACTIF_MODE)
			Etat = ACTIF;
		else {
			CVitD = _CVitD;
			CVitG = _CVitG;
			DirD = _DirD;
			DirG = _DirG;
		}
		break;
	}
	case ACTIF: {
		if (Mode == SLEEP)
			Etat = ARRET;
		if (_DirD == AVANCE && _DirG == AVANCE) {
			if ((Dist_ACS_1 < Seuil_Dist_1 - Delta1)
					&& (Dist_ACS_2 < Seuil_Dist_2 - Delta2)) {
				CVitD = _CVitD;
				CVitG = _CVitG;
				DirD = _DirD;
				DirG = _DirG;
				Delta1 = Delta2 = 0;
			} else if ((Dist_ACS_1 < Seuil_Dist_1)
					&& (Dist_ACS_2 > Seuil_Dist_2)) {
				CVitD = V1;
				CVitG = V1;
				DirG = AVANCE;
				DirD = RECULE;
				Delta2 = DELTA;
			} else if ((Dist_ACS_1 > Seuil_Dist_1)
					&& (Dist_ACS_2 < Seuil_Dist_2)) {
				CVitD = V1;
				CVitG = V1;
				DirD = AVANCE;
				DirG = RECULE;
				Delta1 = DELTA;
			} else if ((Dist_ACS_1 > Seuil_Dist_1)
					&& (Dist_ACS_2 > Seuil_Dist_2)) {
				CVitD = 0;
				CVitG = 0;
				DirD = RECULE;
				DirG = RECULE;
			}
		} else if (_DirD == RECULE && _DirG == RECULE) {
			if ((Dist_ACS_3 < Seuil_Dist_3 - Delta3)
					&& (Dist_ACS_4 < Seuil_Dist_4 - Delta4)) {
				CVitD = _CVitD;
				CVitG = _CVitG;
				DirD = _DirD;
				DirG = _DirG;
				Delta3 = Delta4 = 0;
			} else if ((Dist_ACS_3 > Seuil_Dist_3)
					&& (Dist_ACS_4 < Seuil_Dist_4)) {
				CVitD = V1;
				CVitG = V1;
				DirD = AVANCE;
				DirG = RECULE;
				Delta3 = DELTA;
			} else if ((Dist_ACS_3 < Seuil_Dist_3)
					&& (Dist_ACS_4 > Seuil_Dist_4)) {
				CVitD = V1;
				CVitG = V1;
				DirG = AVANCE;
				DirD = RECULE;
				Delta4 = DELTA;
			} else if ((Dist_ACS_3 > Seuil_Dist_3)
					&& (Dist_ACS_4 > Seuil_Dist_4)) {
				CVitD = 0;
				CVitG = 0;
				DirD = RECULE;
				DirG = RECULE;
			}
		} else {
			CVitD = _CVitD;
			CVitG = _CVitG;
			DirD = _DirD;
			DirG = _DirG;
		}
		break;
	}
	}
}

void Calcul_Vit(void) {

	DistD = __HAL_TIM_GET_COUNTER(&htim3);
	DistG = __HAL_TIM_GET_COUNTER(&htim4);
	VitD = abs(DistD - DistD_old);
	VitG = abs(DistG - DistG_old);
	DistD_old = DistD;
	DistG_old = DistG;
	if (DirD == DirG) {
		Dist_parcours = Dist_parcours + ((VitD + VitG) >> 1);
	}
}

void regulateur(void) {
	enum ETAT {
		ARRET, ACTIF
	};
	static enum ETAT Etat = ARRET;
	uint16_t Kp_D = CKp_D;
	uint16_t Kp_G = CKp_G;
	uint16_t Ki_D = CKi_D;
	uint16_t Ki_G = CKi_G;
	uint16_t Kd_D = CKd_D;
	uint16_t Kd_G = CKd_G;

	static int16_t ErreurD = 0;
	static int16_t ErreurG = 0;
	static int16_t ErreurD_old = 0;
	static int16_t ErreurG_old = 0;
	static int16_t S_erreursD = 0;
	static int16_t S_erreursG = 0;
	static int16_t V_erreurD = 0;
	static int16_t V_erreurG = 0;

	switch (Etat) {
	case ARRET: {
		if (Mode == ACTIF_MODE)
			Etat = ACTIF;
		else {
			__HAL_TIM_SET_COMPARE(&htim2, TIM_CHANNEL_4, 0);
			__HAL_TIM_SET_COMPARE(&htim2, TIM_CHANNEL_1, 0);
			HAL_TIM_PWM_Stop(&htim2, TIM_CHANNEL_4);
			HAL_TIM_PWM_Stop(&htim2, TIM_CHANNEL_1);
			HAL_GPIO_WritePin(IR3_out_GPIO_Port, IR3_out_Pin, GPIO_PIN_RESET);
			HAL_GPIO_WritePin(IR4_out_GPIO_Port, IR4_out_Pin, GPIO_PIN_RESET);
			HAL_GPIO_WritePin(IR1_out_GPIO_Port, IR1_out_Pin, GPIO_PIN_RESET);
			HAL_GPIO_WritePin(IR2_out_GPIO_Port, IR2_out_Pin, GPIO_PIN_RESET);

			HAL_PWR_EnterSLEEPMode(PWR_LOWPOWERREGULATOR_ON,
			PWR_SLEEPENTRY_WFI);

			__HAL_TIM_SET_COMPARE(&htim2, TIM_CHANNEL_4, 0);
			__HAL_TIM_SET_COMPARE(&htim2, TIM_CHANNEL_1, 0);
			HAL_TIM_PWM_Start(&htim2, TIM_CHANNEL_4);
			HAL_TIM_PWM_Start(&htim2, TIM_CHANNEL_1);
			Time = 0;
		}
		break;
	}
	case ACTIF: {
		if ((CVitD != 0) && (CVitG != 0))
			Time = 0;
		if ((Mode == SLEEP) && (VitD == 0) && (VitG == 0) && Time > T_2_S)
			Etat = ARRET;
		else {
			ErreurD = CVitD - VitD;
			ErreurG = CVitG - VitG;
			S_erreursD += ErreurD;
			S_erreursG += ErreurG;
			V_erreurD = ErreurD - ErreurD_old;
			V_erreurG = ErreurG - ErreurG_old;
			ErreurD_old = ErreurD;
			ErreurG_old = ErreurG;
			Cmde_VitD = (unsigned int) Kp_D * (int) (ErreurD)
					+ (unsigned int) Ki_D * ((int) S_erreursD)
					+ (unsigned int) Kd_D * (int) V_erreurD;
			Cmde_VitG = (unsigned int) Kp_G * (int) (ErreurG)
					+ (unsigned int) Ki_G * ((int) S_erreursG)
					+ (unsigned int) Kd_G * (int) V_erreurG;

			//Cmde_VitD = _CVitD*640;
			//Cmde_VitG = _CVitG*640;
			//	DirD = _DirD;
			//	DirG= _DirG;

			if (Cmde_VitD < 0)
				Cmde_VitD = 0;
			if (Cmde_VitG < 0)
				Cmde_VitG = 0;
			if (Cmde_VitD > 100 * POURCENT)
				Cmde_VitD = 100 * POURCENT;
			if (Cmde_VitG > 100 * POURCENT)
				Cmde_VitG = 100 * POURCENT;
			__HAL_TIM_SET_COMPARE(&htim2, TIM_CHANNEL_1, (uint16_t ) Cmde_VitG);
			__HAL_TIM_SET_COMPARE(&htim2, TIM_CHANNEL_4, (uint16_t ) Cmde_VitD);
			HAL_GPIO_WritePin(DIR1_GPIO_Port, DIR1_Pin, (GPIO_PinState) DirD);
			HAL_GPIO_WritePin(DIR2_GPIO_Port, DIR2_Pin, (GPIO_PinState) DirG);

		}
		break;
	}
	}
}

//réception commandes
void HAL_UART_RxCpltCallback(UART_HandleTypeDef *huart) {
	static int cursor_xbee = 0;
	if (huart->Instance == USART3) {

		switch (BLUE_RX) {
		case 'F': {
			CMDE = AVANT;
			New_CMDE = 1;
			break;
		}

		case 'B': {
			CMDE = ARRIERE;
			New_CMDE = 1;
			break;
		}

		case 'L': {
			CMDE = GAUCHE;
			New_CMDE = 1;
			break;
		}

		case 'R': {
			CMDE = DROITE;
			New_CMDE = 1;
			break;
		}

		case 'W': {
			CMDE = PARK;
			New_CMDE = 1;
			break;
		}

		case 'U': {
			CMDE = ATTENTE_PARK;
			New_CMDE = 1;
			break;
		}
		case 'u': {
			CMDE = ATTENTE_PARK;
			New_CMDE = 1;
			break;
		}

		case 'D': {
			// disconnect bluetooth
			break;
		}
		default:
			break;
		}

		HAL_UART_Receive_IT(&huart3, &BLUE_RX, 1);//arme la réception du caractère suivant

	} else if (huart->Instance == USART1) {
		MESSAGE_XBEE[cursor_xbee] = XBEE_RX;

		if (MESSAGE_XBEE[0] != '#' && MESSAGE_XBEE[0] != ':'
				&& MESSAGE_XBEE[0] != 'P')  // Filtre
			cursor_xbee = 0;
		else
			cursor_xbee++;

		if (cursor_xbee >= 20) {
			cursor_xbee = 0;
			switch (MESSAGE_XBEE[0]) {
			case '#':   // #[char]
				address_i = MESSAGE_XBEE[1];
				break;

			case ':':  // :[command], do not forgot to get address
				switch (MESSAGE_XBEE[1]) {
				case '@':
					if (gstCmdeEtat == ATTENTE_PARK_STATE) {
						memset(XBEE_TX, 0, strlen(XBEE_TX));  // Clear buffer
						snprintf(XBEE_TX, 3, "#%c", address_o);
						printToXBEE(XBEE_TX);
					}
					break;

				case 'M':
					if (address_i == address_o) {
						CMDE = MOV_PARK;
						New_CMDE = 1;
					}
					break;

				default:
					break;
				}
				break;  // case ':'

			case 'P':
				if (MESSAGE_XBEE[1] == 'x') {
					sscanf((char *) MESSAGE_XBEE, "Px%li", &position_ref_i.x);
				} else if (MESSAGE_XBEE[1] == 'y') {
					sscanf((char *) MESSAGE_XBEE, "Py%li", &position_ref_i.y);
				} else if (MESSAGE_XBEE[1] == 'z') {
					sscanf((char *) MESSAGE_XBEE, "Pz%li", &position_ref_i.z);
				}
//				sscanf((char *) MESSAGE_XBEE, "%*c%*c%05li%*c%05li%*c%05li", &position_ref_i.x, &position_ref_i.y, &position_ref_i.z);
				break;

			default:
				break;
			}

			memset(MESSAGE_XBEE, 0, sizeof(MESSAGE_XBEE));
		}
		HAL_UART_Receive_IT(&huart1, &XBEE_RX, 1);
	}
}

void HAL_ADC_ConvCpltCallback(ADC_HandleTypeDef *hadc) {

	Dist_ACS_3 = adc_buffer[0] - adc_buffer[5];
	Dist_ACS_4 = adc_buffer[3] - adc_buffer[8];
	Dist_ACS_1 = adc_buffer[1] - adc_buffer[6];
	Dist_ACS_2 = adc_buffer[2] - adc_buffer[7];
	HAL_ADC_Stop_DMA(hadc);
}

//mesure infrarouge
void HAL_TIM_PeriodElapsedCallback(TIM_HandleTypeDef * htim) {
	static unsigned char cpt = 0;

	if (htim->Instance == TIM2) {
		cpt++;
		Time++;
		Tech++;

		switch (cpt) {
		case 1: {
			HAL_GPIO_WritePin(IR3_out_GPIO_Port, IR3_out_Pin, GPIO_PIN_SET);
			HAL_GPIO_WritePin(IR4_out_GPIO_Port, IR4_out_Pin, GPIO_PIN_SET);
			HAL_GPIO_WritePin(IR1_out_GPIO_Port, IR1_out_Pin, GPIO_PIN_SET);
			HAL_GPIO_WritePin(IR2_out_GPIO_Port, IR2_out_Pin, GPIO_PIN_SET);
			break;
		}
		case 2: {
			HAL_ADC_Start_DMA(&hadc1, (uint32_t *) adc_buffer, 10);
			break;
		}
		case 3: {
			HAL_GPIO_WritePin(IR3_out_GPIO_Port, IR3_out_Pin, GPIO_PIN_RESET);
			HAL_GPIO_WritePin(IR4_out_GPIO_Port, IR4_out_Pin, GPIO_PIN_RESET);
			HAL_GPIO_WritePin(IR1_out_GPIO_Port, IR1_out_Pin, GPIO_PIN_RESET);
			HAL_GPIO_WritePin(IR2_out_GPIO_Port, IR2_out_Pin, GPIO_PIN_RESET);
			break;
		}
		case 4: {
			HAL_ADC_Start_DMA(&hadc1, (uint32_t *) adc_buffer, 10);
			break;
		}
		default:
			cpt = 0;
		}
	}
}

//bouton start/stop
void HAL_GPIO_EXTI_Callback(uint16_t GPIO_Pin) {

	static unsigned char TOGGLE = 0;

	if (TOGGLE)
		CMDE = STOP;
	else
		CMDE = START;
	TOGGLE = ~TOGGLE;
	New_CMDE = 1;

}

//alumage LED surveillance batterie
void HAL_ADC_LevelOutOfWindowCallback(ADC_HandleTypeDef* hadc1) {
	HAL_GPIO_WritePin(GPIOA, GPIO_PIN_5, GPIO_PIN_SET);
}

//mesure sonar
void HAL_TIM_IC_CaptureCallback(TIM_HandleTypeDef* htim) {
	if (htim->Instance == TIM1) {
		if (htim->Channel == HAL_TIM_ACTIVE_CHANNEL_1)
			HAL_GPIO_WritePin(GPIOB, GPIO_PIN_10, GPIO_PIN_RESET);
		if (htim->Channel == HAL_TIM_ACTIVE_CHANNEL_2)
			Dist_mur = HAL_TIM_ReadCapturedValue(htim, TIM_CHANNEL_2);
	}
}

void printToXBEE(char out[]) {
	HAL_UART_Transmit(&huart1, (uint8_t *) out, 20, 10);
}

/* USER CODE END 4 */

void _Error_Handler(char *file, int line) {
	while (1) {
	}
}

/************************ (C) COPYRIGHT STMicroelectronics *****END OF FILE****/
